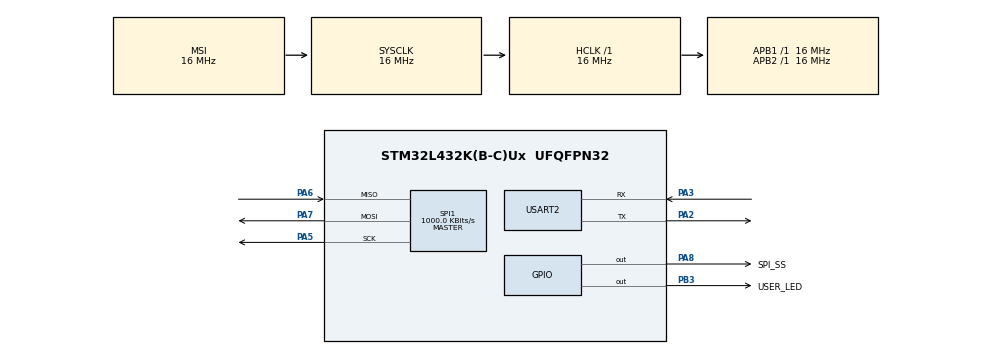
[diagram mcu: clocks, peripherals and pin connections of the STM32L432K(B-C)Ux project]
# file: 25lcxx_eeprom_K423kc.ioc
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Mcu.Family=STM32L4
Mcu.Name=STM32L432K(B-C)Ux
Mcu.Package=UFQFPN32
NVIC.PriorityGroup=NVIC_PRIORITYGROUP_4
PA13\ (JTMS-SWDIO).Mode=Serial_Wire
PA13\ (JTMS-SWDIO).Signal=SYS_JTMS-SWDIO
PA14\ (JTCK-SWCLK).Mode=Serial_Wire
PA14\ (JTCK-SWCLK).Signal=SYS_JTCK-SWCLK
PA2.Mode=Asynchronous
PA2.Signal=USART2_TX
PA3.Mode=Asynchronous
PA3.Signal=USART2_RX
PA5.Mode=Full_Duplex_Master
PA5.Signal=SPI1_SCK
PA6.Mode=Full_Duplex_Master
PA6.Signal=SPI1_MISO
PA7.Mode=Full_Duplex_Master
PA7.Signal=SPI1_MOSI
PA8.GPIO_Label=SPI_SS
PA8.PinState=GPIO_PIN_RESET
PA8.Signal=GPIO_Output
PB3\ (JTDO-TRACESWO).GPIO_Label=USER_LED
PB3\ (JTDO-TRACESWO).Signal=GPIO_Output
ProjectManager.HeapSize=0x200
ProjectManager.StackSize=0x400
ProjectManager.TargetToolchain=STM32CubeIDE
RCC.ADCFreq_Value=64000000
RCC.AHBFreq_Value=16000000
RCC.APB1Freq_Value=16000000
RCC.APB1TimFreq_Value=16000000
RCC.APB2Freq_Value=16000000
RCC.APB2TimFreq_Value=16000000
RCC.CortexFreq_Value=16000000
RCC.HCLKFreq_Value=16000000
RCC.HSE_VALUE=8000000
RCC.HSI48_VALUE=48000000
RCC.HSI_VALUE=16000000
RCC.LSE_VALUE=32768
RCC.MSIClockRange=RCC_MSIRANGE_8
RCC.MSI_VALUE=16000000
RCC.SYSCLKFreq_VALUE=16000000
RCC.USBFreq_Value=64000000
RCC.VCOOutputFreq_Value=128000000
SPI1.BaudRatePrescaler=SPI_BAUDRATEPRESCALER_16
SPI1.CalculateBaudRate=1000.0 KBits/s
SPI1.DataSize=SPI_DATASIZE_8BIT
SPI1.Direction=SPI_DIRECTION_2LINES
SPI1.Mode=SPI_MODE_MASTER
SPI1.VirtualType=VM_MASTER
USART2.VirtualMode-Asynchronous=VM_ASYNC
board=custom

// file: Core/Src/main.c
/* USER CODE BEGIN Header */
/**
  ******************************************************************************
  * @file           : main.c
  * @brief          : Main program body
  ******************************************************************************
  * @attention
  *
  * Copyright (c) 2022 STMicroelectronics.
  * All rights reserved.
  *
  * This software is licensed under terms that can be found in the LICENSE file
  * in the root directory of this software component.
  * If no LICENSE file comes with this software, it is provided AS-IS.
  *
  ******************************************************************************
  */
/* USER CODE END Header */
#include "main.h"

/* USER CODE BEGIN Includes */
#include "25LCxx_driver_basic.h"

/* USER CODE END Includes */

 SPI_HandleTypeDef hspi1;

UART_HandleTypeDef huart2;

/* USER CODE BEGIN PV */
E_25LCxx_info_t e_25LCxxInfo;
/* USER CODE END PV */

void SystemClock_Config(void);
static void MX_GPIO_Init(void);
static void MX_SPI1_Init(void);
static void MX_USART2_UART_Init(void);
/* USER CODE BEGIN PFP */

/**
 * @brief demo state machine definition
 * */
typedef enum
{
	WRITE_BYTE         = (int)1,
	READ_BYTE          = (int)2,
	EE_PUT             = (int)3,
	EE_GET             = (int)4,
	EE_UPDATE          = (int)5,
	PAGE_ERASE         = (int)6,
	SECTOR_ERASE       = (int)7,
	SET_BLOCK_PROTECT  = (int)8,
	CHIP_ERASE         = (int)9,
	READ_ENTIRE_MEMORY = (int)10,
	DEMO_IDLE          = (int)0

}e25lcxx_demo_state_t;

typedef struct handle_s
{
	e25lcxx_demo_state_t state;
}e25lxx_state_handler_t;

e25lxx_state_handler_t demo;

/* USER CODE END PFP */

/* USER CODE BEGIN 0 */
uint8_t spi_write(uint16_t u16Reg, uint32_t *pBuf, uint16_t u16Len);
uint8_t spi_read(uint16_t u16Reg, uint32_t *pBuf, uint16_t u16Len);
void uart_transmit(const char *pString, uint8_t u8Length);
uint8_t spi_write_gpio_cs(uint8_t u8State);

uint16_t u16EE_addr;
uint8_t pBufferWrite[50];
uint8_t pBufferRead[10];
uint32_t u32DateAndTime;
uint16_t u16AddrIndex;
uint8_t u8PreviousState, u8PreviousState1;
uint16_t u16BufferLength;

uint8_t tempBuffer[10] = {0x00, 0x12, 0x54, 0x46, 0x95, 0xA5, 0xb7, 0xc3, 0xF4, 0x2D};

/** EEPROM 25LCxx application definition */
uint8_t pDataRead[20];					                    /**< buffer to hold data read */
const uint8_t pDataWrite[10] = "cedric";						/**< buffer to hold data to write */
uint8_t numByteRead;										/**< number of bytes to read/write */
uint8_t singleByteDataRead;									/**< data to store single byte data read */
uint16_t dataAddress;										/**< eeprom address (read/write)*/
uint32_t byteGet;
uint32_t dateTime = 2305031413;
float floatData = 45.5f;
int err;
uint16_t totalSize, freeSpace, usedSpace;

/**end of global definitions*/

/* USER CODE END 0 */

int main(void)
{
  /* USER CODE BEGIN 1 */
   demo.state = DEMO_IDLE;
  /* USER CODE END 1 */

  /* MCU Configuration--------------------------------------------------------*/

  /* Reset of all peripherals, Initializes the Flash interface and the Systick. */
  HAL_Init();

  /* Configure the system clock */
  SystemClock_Config();

  /* Initialize all configured peripherals */
  MX_GPIO_Init();
  MX_SPI1_Init();
  MX_USART2_UART_Init();
  /* USER CODE BEGIN 2 */

  e_25LCxx_basic_initialize(E_25LC160x_VARIANT, E_25LCXX_PAGE_SIZE_16_BYTE);
  E_25LCxx_info(&e_25LCxxInfo);

  e_25LCxx_interface_debug_print("Chip Name: \t%s\r\n", e_25LCxxInfo.chip_name);
  e_25LCxx_interface_debug_print("Manufacture: \t%s\r\n", e_25LCxxInfo.manufacturer_name);
  e_25LCxx_interface_debug_print("Interface: \t%s\r\n", e_25LCxxInfo.interface);
  e_25LCxx_interface_debug_print("Supply Volt Max: \t%.1fV\r\n", e_25LCxxInfo.supply_voltage_max_v);
  e_25LCxx_interface_debug_print("Supply Volt Min: \t%.1fV\r\n", e_25LCxxInfo.supply_voltage_min_v);
  e_25LCxx_interface_debug_print("Maximum Current: \t%.1fmA\r\n", e_25LCxxInfo.max_current_ma);
  e_25LCxx_interface_debug_print("Temperature Max: \t%.1fC\r\n", e_25LCxxInfo.temperature_max);
  e_25LCxx_interface_debug_print("Temperature Min: \t%.1fC\r\n", e_25LCxxInfo.temperature_min);
  e_25LCxx_interface_debug_print("Driver Version: \tV%.1f.%.2d\r\n", (e_25LCxxInfo.driver_version /1000), (uint8_t)(e_25LCxxInfo.driver_version - (uint8_t)(e_25LCxxInfo.driver_version /100)*100));

	dataAddress = 0;          /**< start read operation at eeprom address 0*/
	numByteRead = 20;		  /**< read 20 bytes */

  err = e_25LCxx_basic_get_bp_status((uint8_t *)&singleByteDataRead);
	e_25LCxx_interface_debug_print("Block protect status: %d\n", singleByteDataRead);

	err= e_25LCxx_basic_read_byte(dataAddress, (uint8_t *)pDataRead, numByteRead);
	for (int index = 0; index < numByteRead; index++){
		e_25LCxx_interface_debug_print("address read: %d Data Read :%x\n",index, pDataRead[index]);
	}

	//err = e_25LCxx_basic_update(1536,(uint8_t *)pDataWrite, sizeof(pDataWrite));

	/*for(int index = 0; index < e_25LCxx_basic_get_eeprom_legth(); ++index){
		err = e_25LCxx_basic_read_byte(index, (uint8_t *)&singleByteDataRead, 1);
		e_25LCxx_interface_debug_print(" add: %d data: 0x%x", index, singleByteDataRead);
		if(index % 10 == 0)
		e_25LCxx_interface_debug_print("\n\r");
	}*/

	e_25LCxx_basic_put_byte(14, (uint32_t *)&dateTime,  sizeof(dateTime));

	//err = e_25LCxx_basic_update(12,(uint8_t *)pDataWrite, sizeof(pDataWrite));

	err = e_25LCxx_basic_get_byte(14, (uint32_t *)&byteGet, sizeof(byteGet));
	e_25LCxx_interface_debug_print("\nGet date: %lu\n", byteGet);

	err = e_25LCxx_basic_erase_page(64);											  /**< erasing memory page 64 (address: 1008 - 1023)*/
	err = e_25LCxx_basic_erase_sector(1532, 1540);									  /**< attempt to erase a protected region */
	err = e_25LCxx_basic_write_byte(2011,(uint8_t *)pDataWrite, sizeof(pDataWrite));  /**< attempt to write block of data bigger than page size, in a protected region*/

	err = e_25LCxx_basic_get_memory_properties((uint16_t*) &totalSize, (uint16_t *)&freeSpace, (uint16_t *)&usedSpace);
	e_25LCxx_interface_debug_print("Total size : %d Bytes\nFree space: %d Bytes\nUsed space: %d Bytes\n", totalSize, freeSpace, usedSpace);

  /* USER CODE END 2 */

  /* Infinite loop */
  while (1)
  {

    /* USER CODE BEGIN 3 */
	     HAL_Delay(500);
	     HAL_GPIO_TogglePin(USER_LED_GPIO_Port, USER_LED_Pin);

//    	 e_25LCxx_basic_update(0x00, (uint8_t *)tempBuffer, 10);

//	     for(int index = 0; index < e_25LCxx_basic_get_eeprom_legth(); index++)
//	     {
//	    	 e_25LCxx_basic_read_byte(index, (uint8_t *)&u8PreviousState, 1);
//	    	 if(u8PreviousState != 0xff){
//	    		 e_25LCxx_interface_debug_print("Index: %d Data: %x \n", index, u8PreviousState);
//	    	 }
//
//	     }

//	     switch((int)demo.state)
//	    		     {
//
//	    				 case DEMO_IDLE:
//	    				 {
//	    					 e_25LCxx_interface_debug_print("STATE:%d IDLE\r\n", DEMO_IDLE);
//	    					 if(u8PreviousState == READ_ENTIRE_MEMORY)
//	    					 {
//	    						 e_25LCxx_interface_debug_print("\t\tEND OF DEMO CODE!! :-)\r\n");
//	    					     return 1;
//	    					 }
//	    					 e_25LCxx_interface_debug_print("\t\t\t* Demo code to demonstrate basic functionalities of EEPROM Driver.\r\n");
//	    					 e_25LCxx_interface_debug_print("\t\t\t* Note that it is strongly recommanded to disable debug mode"
//	    							                        "('E_25LCXX_DEBUG_MODE' find in 25LCxx_driver.h ) in order to reduce the code size.\r\n");
//	    					 e_25LCxx_interface_debug_print("\t\t\t* Note that enabling printing of float will increase code size.\r\n");
//	    					 e_25LCxx_interface_debug_print("\t\t\t* In order to enable printing of float on STM32Cube go to:Project->properties->Miscellaneous -> other flags: creat new file and past synthix : -u _printf_float.\r\n");
//	    					 demo.state = WRITE_BYTE;       /**< go to next state to begin testing */
//	    					 break;
//	    				 }
//
//	    				 case WRITE_BYTE:
//	    				 {
//	    					 e_25LCxx_interface_debug_print("STATE:%d WRITE BYTE\r\n", WRITE_BYTE);
//	    					 u16EE_addr = 0;                                                        /**< define start address (write from address 0) */
//	    					 u16BufferLength = 10;                                                  /**< set buffer length (number of byte to be written) */
//	    					 if(u8PreviousState == SET_BLOCK_PROTECT){                              /**< if block protect is set, define address to write equal to the eeprom max addr - 10 */
//	    						 u16EE_addr = e_25LCxx_basic_get_eeprom_legth() - u16BufferLength;
//	    					 }
//	    					 memset(pBufferWrite, 34, u16BufferLength);                             /**< Give the 10 first byte of buffer a value of 34 */
//	    					 if(e_25LCxx_basic_write_byte(u16EE_addr, (uint8_t*)pBufferWrite, u16BufferLength)) /**< write n number of byte to last 10 address of eeprom */
//	    					 {
//	    						 e_25LCxx_interface_debug_print("failed to execute state :%d\r\n", WRITE_BYTE);
//	    						 demo.state =  DEMO_IDLE;                                           /**< start over from idle */
//	    					 }if(u8PreviousState == SET_BLOCK_PROTECT)
//	    						 demo.state = CHIP_ERASE;
//	    					 else
//	    						 demo.state =  READ_BYTE;                                          /**< move to next state if write successfull*/
//
//	    					 break;
//	    				 }
//
//	    				 case READ_BYTE:
//	    				 {
//	    					 uint8_t ret;
//	    					 e_25LCxx_interface_debug_print("STATE:%d READ BYTE \r\n", READ_BYTE);
//	    					 u16EE_addr = 5;												       /**< define start address to read (read from address 5) */
//	    					 u16BufferLength = 10;                                                 /**< set buffer length to read */
//	    					 memset(pBufferRead, 0x00, u16BufferLength);                           /**< clear buffer before read */
//	    					 ret = e_25LCxx_basic_read_byte(u16EE_addr, (uint8_t*)pBufferRead, u16BufferLength); /**< read 10 byte starting from address defined above*/
//	    					 if(ret != HAL_OK)
//	    					 {
//	    						 e_25LCxx_interface_debug_print("failed to execute state :%d\r\n", READ_BYTE);
//	    						 demo.state =  DEMO_IDLE;                                          /**< start over from idle if failed */
//	    						 return 1;														   /**< return error code */
//	    					 }else{
//	    						 for(u16AddrIndex = 0; u16AddrIndex < u16BufferLength; u16AddrIndex++){        /**< print read data */
//	    							 e_25LCxx_interface_debug_print("address: %d, data = %d\r\n", u16AddrIndex + u16EE_addr, pBufferRead[u16AddrIndex]);
//	    						 }
//	    						 if(u8PreviousState == PAGE_ERASE)                                 /**< go to sector erase if previous state was PAGE ERASE */
//	    							 demo.state = SECTOR_ERASE;
//	    						 else
//	    							 demo.state =  EE_PUT;                                         /**< move to next state if write successfull*/
//	    					 }
//
//	    					 break;
//	    				 }
//
//	    				 case EE_PUT:
//	    				 {
//	    					 e_25LCxx_interface_debug_print("STATE:%d EEPROM PUT\r\n", EE_PUT);
//	    					 u16EE_addr = 15;                                                    /**< set address to start writing from */
//	    					 u32DateAndTime = 2209041513;                                        /**< prepare data to be stored as date and time this demo code was written (04/09/2022 - 15:43) */
//	    					 if(e_25LCxx_basic_put_byte(u16EE_addr, (unsigned long long *)&u32DateAndTime, sizeof(u32DateAndTime))) /**< 4 byte is needed to write date and time (from addr : 15 - 18)*/
//	    					 {
//	    						 e_25LCxx_interface_debug_print("failed to execute state :%d\r\n", EE_PUT);
//	    						 demo.state =  DEMO_IDLE;                                        /**< start over from idle if failed */
//	    						 return 1;														 /**< return error code */
//	    					 }else{
//	    						 demo.state =  EE_GET;                                           /**< move to next state if read successfull*/
//	    					 }
//	    					 break;
//	    				 }
//
//	    				 case EE_GET:
//	    				 {
//	    					 e_25LCxx_interface_debug_print("STATE:%d EEPROM GET\r\n", EE_GET);
//	    					 u16EE_addr = 15;                                                    /**< set address to start reading from */
//	    					 u32DateAndTime = 0x00;                                              /**< make sure date and time variable is cleared before reading */
//	    					 if(e_25LCxx_basic_get_byte(u16EE_addr, (unsigned long long *)&u32DateAndTime, sizeof(u32DateAndTime))) /**< read 4 byte starting for address defined above */
//	    					 {
//	    						 e_25LCxx_interface_debug_print("failed to execute state :%d\r\n", EE_GET);
//	    						 demo.state =  DEMO_IDLE;                                        /**< start over from idle if failed */
//	    						 return 1;														 /**< return error code */
//	    					 }else{
//	     						 e_25LCxx_interface_debug_print("Time and date stored:%lu\r\n", u32DateAndTime); /**< print read data */
//	    						 if(u8PreviousState == SECTOR_ERASE){
//	    							 demo.state =  SET_BLOCK_PROTECT;                            /**< go to block protect state if previous state was sector erase */
//	    						 }  else{
//	    							 demo.state = EE_UPDATE;
//	    						 }
//
//	    					 }
//	    					 break;
//	    				 }
//
//	    				 case EE_UPDATE:
//	    				 {
//	    					 e_25LCxx_interface_debug_print("STATE:%d EEPROM UPDATE\r\n", EE_UPDATE);
//	    	                 u16EE_addr = 19;                                                    /**< set start address*/
//	    	                 u16BufferLength = 3;                                                /**< define buffer length (number of bytes to be updated */
//	    	                 memset(pBufferWrite, 0x52, u16BufferLength);                        /**< set first 3 byte of array to 82 */
//	    	                 if(e_25LCxx_basic_update(u16EE_addr, (uint8_t *)pBufferWrite, u16BufferLength))   /**< run update routine */
//	    	                 {
//	    						 e_25LCxx_interface_debug_print("failed to execute state :%d\r\n", EE_UPDATE);
//	    						 demo.state =  DEMO_IDLE;                                        /**< start over from idle if failed */
//	    						 return 1;														 /**< return error code */
//	    	                 }else{
//	    	                	 demo.state =  PAGE_ERASE;                                        /**< move to next state if write successfull*/
//	    	                 }
//	    					 break;
//	    				 }
//
//	    				 case PAGE_ERASE:
//	    				 {
//	    					 e_25LCxx_interface_debug_print("STATE:%d PAGE ERASE\r\n", PAGE_ERASE);
//	    					 if(e_25LCxx_basic_erase_page(1))                                    /**< erase first page of the memory */
//	    					 {
//	    						 e_25LCxx_interface_debug_print("failed to execute state :%d\r\n", PAGE_ERASE);
//	    						 demo.state =  DEMO_IDLE;                                        /**< start over from idle if failed */
//	    						 return 1;														 /**< return error code */
//	    					 }else{
//	    						 u8PreviousState = demo.state;                                   /**< keep track of previous state */
//	    						 demo.state = READ_BYTE;                                         /**< go back to read state to confirm page has been erased */
//	    					 }
//	    					 break;
//	    				 }
//
//	    				 //Note: Sector erase will erase data from start addr to end addr (255 is the default value when erasing).
//	    				 // Note: This function uses e_25LCxx_basic_update() to perform the write, so does not rewrites the value if it didn't change */
//	    				 //We will attempt to delete the stored date and time we stored in state:EE_PUT
//	    				 case SECTOR_ERASE:
//	    				 {
//	    					 e_25LCxx_interface_debug_print("STATE:%d SECTOR ERASE\r\n", SECTOR_ERASE);
//	    					 u16EE_addr = 15;                                                    /**< define sector start address */
//	    					 if(e_25LCxx_basic_erase_sector(u16EE_addr, (u16EE_addr + sizeof(u32DateAndTime))- 1)) /**< execute erase sector instruction from address 15 - 18*/
//	    					 {
//	    						 e_25LCxx_interface_debug_print("failed to execute state :%d\r\n", SECTOR_ERASE);
//	    						 demo.state =  DEMO_IDLE;                                        /**< start over from idle if failed */
//	    						 return 1;														 /**< return error code */
//	    					 }
//	    					 u8PreviousState = SECTOR_ERASE;                                     /**< keep track of previous state */
//	    	//				 e_25LCxx_interface_debug_print("previous state %d, current state:%d\r\n",u8PreviousState,demo.state);
//	    					 demo.state =  EE_GET;                                               /**< go read if the date and time has been erased successfully */
//	    					 break;
//	    				 }
//
//	    				 case SET_BLOCK_PROTECT:
//	    				 {
//	    					 e_25LCxx_interface_debug_print("STATE:%d SET BLOCK PROTECT\r\n", SET_BLOCK_PROTECT);
//	    					 if(e_25LCxx_basic_set_bp_status(E_25LCxx_BP01))                     /**< write protect the upper 25% of the memory */
//	    					 {
//	    						 e_25LCxx_interface_debug_print("failed to execute state :%d\r\n", SET_BLOCK_PROTECT);
//	    						 demo.state =  DEMO_IDLE;                                        /**< start over from idle if failed */
//	    						 return 1;														 /**< return error code */
//	    					 }
//	    					 u8PreviousState = demo.state;                                       /**< keep track of previous state */
//	    					 demo.state =  WRITE_BYTE;                                           /**< back to write state and attempt to writebyte into the protected area*/
//	    					 break;
//	    				 }
//
//	    				 // Note: This function uses e_25LCxx_basic_update() to perform the write, so does not rewrites the value if it didn't change */
//	    				 case CHIP_ERASE:
//	    				 {
//	    					 e_25LCxx_interface_debug_print("STATE:%d CHIP ERASE\r\n", CHIP_ERASE);
//	    					 if(e_25LCxx_basic_chip_erase())                                     /**< execute chip erase */
//	    					 {
//	    						 e_25LCxx_interface_debug_print("failed to execute state :%d\r\n", SET_BLOCK_PROTECT);
//	    						 demo.state =  DEMO_IDLE;                                        /**< start over from idle if failed */
//	    						 return 1;														 /**< return error code */
//	    					 }
//	    					 u8PreviousState = demo.state;                                       /**< keep track of previous state */
//	    					 demo.state = READ_ENTIRE_MEMORY;                                      /**< go read full memory to confirm chhip erase of the unprotected area */
//	    					 break;
//	    				 }
//
//	    				 case READ_ENTIRE_MEMORY:
//	    				 {
//	    					 e_25LCxx_interface_debug_print("STATE:%d CHIP ERASE\r\n", CHIP_ERASE);
//	    	                 for(u16EE_addr = 0; u16EE_addr < e_25LCxx_basic_get_eeprom_legth(); u16EE_addr++)
//	    	                 {
//	    	                     if(e_25LCxx_basic_read_byte(u16EE_addr, (uint8_t *)pBufferRead, 1)) /**< reda 1 byte at the time and print */
//	    	                     {
//	    	    					 e_25LCxx_interface_debug_print("failed to execute state :%d\r\n", READ_ENTIRE_MEMORY);
//	    	    					 demo.state =  DEMO_IDLE;                                        /**< start over from idle if failed */
//	    	    					 break;
//	    	    					 return 1;														 /**< return error code */
//	    	                     }else{
//	    	                    	e_25LCxx_interface_debug_print("address: %d \t data: %d\r\n",u16EE_addr, pBufferRead[0]);
//	    	                     }
//	    	                 }
//	    	                 u8PreviousState = demo.state;                                           /**< keep track of previous state */
//	    	                 demo.state =  DEMO_IDLE;                                                /**< start over from idle if failed */
//	    					 break;
//	    				 }
//
//	    				 default:
//	    					 e_25LCxx_interface_debug_print("demo code fatal error!!\r\n");
//	    					 return 1;
//	    			     break;
//
//	    		     }
  }
  /* USER CODE END 3 */
}

void SystemClock_Config(void)
{
  RCC_OscInitTypeDef RCC_OscInitStruct = {0};
  RCC_ClkInitTypeDef RCC_ClkInitStruct = {0};

  /** Configure the main internal regulator output voltage
  */
  if (HAL_PWREx_ControlVoltageScaling(PWR_REGULATOR_VOLTAGE_SCALE1) != HAL_OK)
  {
    Error_Handler();
  }

  /** Initializes the RCC Oscillators according to the specified parameters
  * in the RCC_OscInitTypeDef structure.
  */
  RCC_OscInitStruct.OscillatorType = RCC_OSCILLATORTYPE_MSI;
  RCC_OscInitStruct.MSIState = RCC_MSI_ON;
  RCC_OscInitStruct.MSICalibrationValue = 0;
  RCC_OscInitStruct.MSIClockRange = RCC_MSIRANGE_8;
  RCC_OscInitStruct.PLL.PLLState = RCC_PLL_NONE;
  if (HAL_RCC_OscConfig(&RCC_OscInitStruct) != HAL_OK)
  {
    Error_Handler();
  }

  /** Initializes the CPU, AHB and APB buses clocks
  */
  RCC_ClkInitStruct.ClockType = RCC_CLOCKTYPE_HCLK|RCC_CLOCKTYPE_SYSCLK
                              |RCC_CLOCKTYPE_PCLK1|RCC_CLOCKTYPE_PCLK2;
  RCC_ClkInitStruct.SYSCLKSource = RCC_SYSCLKSOURCE_MSI;
  RCC_ClkInitStruct.AHBCLKDivider = RCC_SYSCLK_DIV1;
  RCC_ClkInitStruct.APB1CLKDivider = RCC_HCLK_DIV1;
  RCC_ClkInitStruct.APB2CLKDivider = RCC_HCLK_DIV1;

  if (HAL_RCC_ClockConfig(&RCC_ClkInitStruct, FLASH_LATENCY_0) != HAL_OK)
  {
    Error_Handler();
  }
}

static void MX_SPI1_Init(void)
{

  /* SPI1 parameter configuration*/
  hspi1.Instance = SPI1;
  hspi1.Init.Mode = SPI_MODE_MASTER;
  hspi1.Init.Direction = SPI_DIRECTION_2LINES;
  hspi1.Init.DataSize = SPI_DATASIZE_8BIT;
  hspi1.Init.CLKPolarity = SPI_POLARITY_LOW;
  hspi1.Init.CLKPhase = SPI_PHASE_1EDGE;
  hspi1.Init.NSS = SPI_NSS_SOFT;
  hspi1.Init.BaudRatePrescaler = SPI_BAUDRATEPRESCALER_16;
  hspi1.Init.FirstBit = SPI_FIRSTBIT_MSB;
  hspi1.Init.TIMode = SPI_TIMODE_DISABLE;
  hspi1.Init.CRCCalculation = SPI_CRCCALCULATION_DISABLE;
  hspi1.Init.CRCPolynomial = 7;
  hspi1.Init.CRCLength = SPI_CRC_LENGTH_DATASIZE;
  hspi1.Init.NSSPMode = SPI_NSS_PULSE_ENABLE;
  if (HAL_SPI_Init(&hspi1) != HAL_OK)
  {
    Error_Handler();
  }

}

static void MX_USART2_UART_Init(void)
{

  huart2.Instance = USART2;
  huart2.Init.BaudRate = 115200;
  huart2.Init.WordLength = UART_WORDLENGTH_8B;
  huart2.Init.StopBits = UART_STOPBITS_1;
  huart2.Init.Parity = UART_PARITY_NONE;
  huart2.Init.Mode = UART_MODE_TX_RX;
  huart2.Init.HwFlowCtl = UART_HWCONTROL_NONE;
  huart2.Init.OverSampling = UART_OVERSAMPLING_16;
  huart2.Init.OneBitSampling = UART_ONE_BIT_SAMPLE_DISABLE;
  huart2.AdvancedInit.AdvFeatureInit = UART_ADVFEATURE_NO_INIT;
  if (HAL_UART_Init(&huart2) != HAL_OK)
  {
    Error_Handler();
  }

}

static void MX_GPIO_Init(void)
{
  GPIO_InitTypeDef GPIO_InitStruct = {0};

  /* GPIO Ports Clock Enable */
  __HAL_RCC_GPIOA_CLK_ENABLE();
  __HAL_RCC_GPIOB_CLK_ENABLE();

  /*Configure GPIO pin Output Level */
  HAL_GPIO_WritePin(SPI_SS_GPIO_Port, SPI_SS_Pin, GPIO_PIN_RESET);

  /*Configure GPIO pin Output Level */
  HAL_GPIO_WritePin(USER_LED_GPIO_Port, USER_LED_Pin, GPIO_PIN_RESET);

  /*Configure GPIO pin : SPI_SS_Pin */
  GPIO_InitStruct.Pin = SPI_SS_Pin;
  GPIO_InitStruct.Mode = GPIO_MODE_OUTPUT_PP;
  GPIO_InitStruct.Pull = GPIO_NOPULL;
  GPIO_InitStruct.Speed = GPIO_SPEED_FREQ_LOW;
  HAL_GPIO_Init(SPI_SS_GPIO_Port, &GPIO_InitStruct);

  /*Configure GPIO pin : USER_LED_Pin */
  GPIO_InitStruct.Pin = USER_LED_Pin;
  GPIO_InitStruct.Mode = GPIO_MODE_OUTPUT_PP;
  GPIO_InitStruct.Pull = GPIO_NOPULL;
  GPIO_InitStruct.Speed = GPIO_SPEED_FREQ_LOW;
  HAL_GPIO_Init(USER_LED_GPIO_Port, &GPIO_InitStruct);

}

/* USER CODE BEGIN 4 */
uint8_t spi_write(uint16_t u16Reg, uint32_t *pBuf, uint16_t u16Len)
{
	HAL_SPI_Transmit(&hspi1, (uint8_t*)&u16Reg, 1, 100);   	      /**< user defined spi write function */
	if(u16Len == 0){return 0;}
	HAL_SPI_Transmit(&hspi1, (uint8_t *)pBuf, u16Len, 100);   	          /**< user defined spi write function */
    return 0;
}

uint8_t spi_read(uint16_t u16Reg, uint32_t *pBuf, uint16_t u16Len)
{
	HAL_SPI_Transmit(&hspi1, (uint8_t*)&u16Reg, 1, 100);
	if(u16Len == 1)
	{
		HAL_SPI_Receive(&hspi1, (uint8_t *)pBuf, 1, 100);
		return 0;
	}
	HAL_SPI_Receive(&hspi1, (uint8_t *)pBuf, u16Len, 100);
return 0;
}

void uart_transmit(const char *pString, uint8_t u8Length)
{
	HAL_UART_Transmit(&huart2, (const char *) pString, u8Length, 100);
}

 uint8_t spi_write_gpio_cs(uint8_t u8State)
{
   HAL_GPIO_WritePin(SPI_SS_GPIO_Port, SPI_SS_Pin, u8State);
   return 0;
}

/* USER CODE END 4 */

void Error_Handler(void)
{
  __disable_irq();
  while (1)
  {
  }
}
